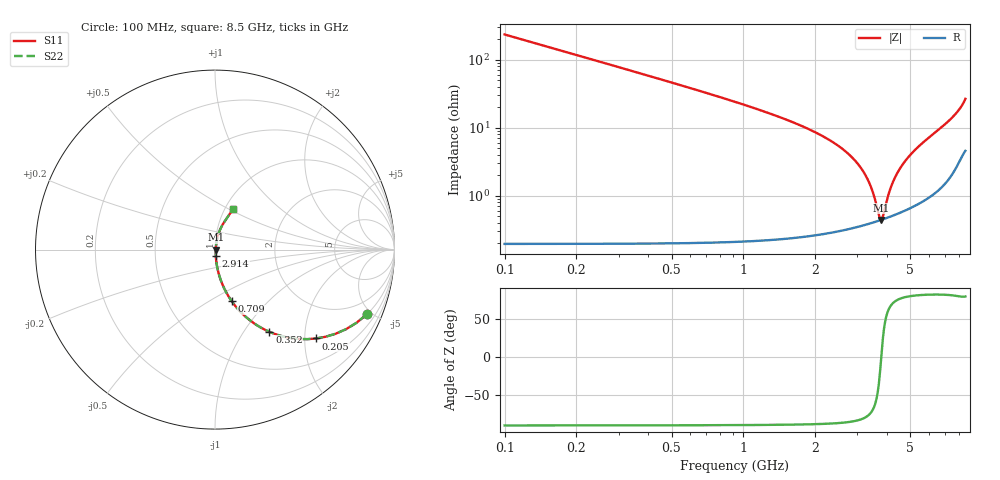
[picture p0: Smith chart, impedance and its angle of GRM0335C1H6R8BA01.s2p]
!Murata Part Number: GRM0335C1H6R8BA01
!These Parameters are Measured in Series Mode Connection
!Data Generated on Mar 30, 2021
!  o--ll--o
!Port1  Port2
!  o------o
!Operation Temp=25[degC], DC Bias Voltage=0[V]
!Freq. Start=100[MHz] Stop=9[GHz] 401[Steps]
# Hz S RI R 50
!Freq.(Hz) S11(Real) S11(Imag) S21(Real) S21(Imag) S12(Real) S12(Imag) S22(Real) S22(Imag)
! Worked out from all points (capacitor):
!   401 points, 100 MHz to 8.5 GHz, reference 50 ohm
!   read as one part in series: C = 6.8 pF near 142 MHz
!   lowest |Z| = 440 mohm at 3.775 GHz (marker M1)
!   series resonance near 3.776 GHz, so ESL is about 260 pH
!   S11 on the Smith chart (normalised r, x): 100 MHz: 1.00, -4.68; 205 MHz: 1.00, -2.28; 352 MHz: 1.00, -1.32; 709 MHz: 1.00, -0.64; 2.914 GHz: 1.01, -0.07; 8.5 GHz: 1.09, +0.52
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1e8  0.8452 -0.3613  0.1548 0.3613  0.1548 0.3613  0.8452 -0.3613
2.05e8  0.5644 -0.495  0.4356 0.495  0.4356 0.495  0.5644 -0.495
3.52e8  0.3036 -0.4583  0.6964 0.4583  0.6964 0.4583  0.3036 -0.4583
4.99e8  0.1765 -0.3791  0.8235 0.3791  0.8235 0.3791  0.1765 -0.3791
7.09e8  0.0939 -0.2885  0.9061 0.2885  0.9061 0.2885  0.0939 -0.2885
1.507e9  0.0192 -0.1287  0.9808 0.1287  0.9808 0.1287  0.0192 -0.1287
2.41e9  0.00631 -0.0582  0.9937 0.0582  0.9937 0.0582  0.00631 -0.0582
2.914e9  0.00447 -0.0332  0.9955 0.0332  0.9955 0.0332  0.00447 -0.0332
3.166e9  0.00414 -0.0226  0.9959 0.0226  0.9959 0.0226  0.00414 -0.0226
3.355e9  0.00407 -0.0152  0.9959 0.0152  0.9959 0.0152  0.00407 -0.0152
3.502e9  0.00412 -0.00971  0.9959 0.00971  0.9959 0.00971  0.00412 -0.00971
3.712e9  0.0043 -0.00222  0.9957 0.00222  0.9957 0.00222  0.0043 -0.00222
3.775e9  0.00438 -4.53e-05  0.9956 4.53e-05  0.9956 4.53e-05  0.00438 -4.53e-05
3.838e9  0.00447 0.0021  0.9955 -0.0021  0.9955 -0.0021  0.00447 0.0021
4.09e9  0.00495 0.0105  0.995 -0.0105  0.995 -0.0105  0.00495 0.0105
4.3e9  0.00547 0.0172  0.9945 -0.0172  0.9945 -0.0172  0.00547 0.0172
4.552e9  0.00625 0.0251  0.9938 -0.0251  0.9938 -0.0251  0.00625 0.0251
4.846e9  0.00735 0.034  0.9926 -0.034  0.9926 -0.034  0.00735 0.034
5.707e9  0.012 0.0604  0.988 -0.0604  0.988 -0.0604  0.012 0.0604
7.114e9  0.0289 0.1124  0.9711 -0.1124  0.9711 -0.1124  0.0289 0.1124
7.975e9  0.0579 0.1636  0.9421 -0.1636  0.9421 -0.1636  0.0579 0.1636
8.5e9  0.0997 0.2248  0.9003 -0.2248  0.9003 -0.2248  0.0997 0.2248
